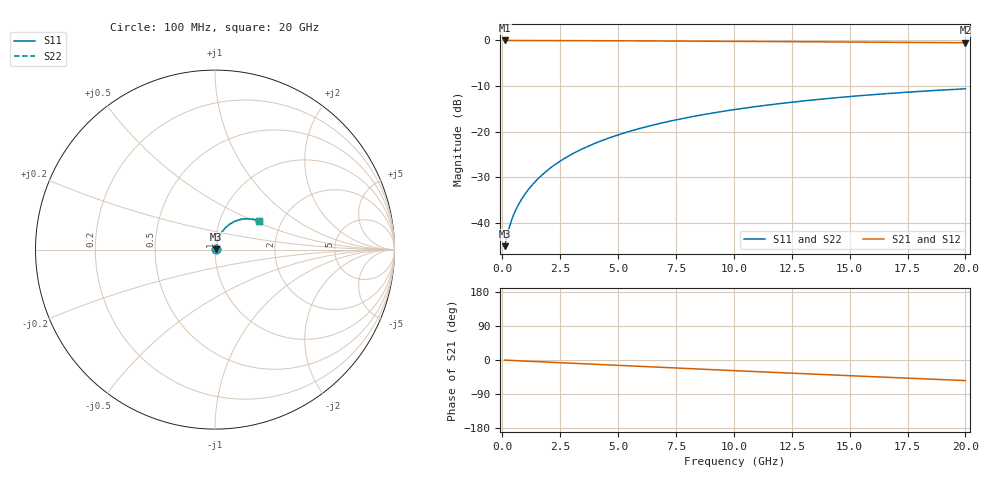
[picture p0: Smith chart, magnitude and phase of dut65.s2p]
! Touchstone file exported from HFSS 2026.1.0
!  File:  C:/ffzhzh/LocalFiles/Ansys_Project_Files/temp_train_BSMRDL_65_1782882769_13352.aedt
!  Generated:  01:14:12 PM Jul  1, 2026
!  Design:  BSMRDL
!  Project:  temp_train_BSMRDL_65_1782882769_13352
! Variables:
!  h_bsmrdl = 2.48um
!  h_ox = 20um
!  h_rdl = 5um
!  h_sub = 80um
!  h_tmrdl = 5um
!  h_tsv = 80um
!  h_via = 3um
!  l_bsmrdl = 903.5um
!  l_sub = 1303.5um
!  l_tmrdl = 200um
!  m_sub = 200um
!  pitch = 40.54um
!  r_tsv = 6um
!  s_tmrdl = 10um
!  w_bsmrdl = 27.46um
!  w_sub = 500um
!  w_tmrdl = 12um
!  x_tsv_center1 = 206um
!  x_tsv_center2 = 1136.96um
!  x_tsv_center3 = 1348.96um
!  x_tsv_center4 = 2279.92um
!  x_tsv_center5 = 2491.92um
!  x_tsv_center6 = 3422.88um
# GHz S MA R 50.000000
! Terminal data exported
! Port[1] = BSM_RDL1_1_T1
! Port[2] = BSM_RDL1_1_T2
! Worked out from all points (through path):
!   200 points, 100 MHz to 20 GHz, reference 50 ohm
!   highest |S21| = -0.04 dB at 100 MHz (marker M1); lowest = -0.5 dB at 20 GHz (marker M2)
!   group delay of S21, straight-line fit = 7.54 ps
!   lowest |S11| = -45.1 dB at 100 MHz (marker M3), VSWR 1.01, Z = 50.5 + j0.242 ohm
!   |S11| at or under -10 dB: start of sweep to end of sweep
!   |S22| runs from -45.1 to -10.6 dB; largest |S21 - S12| = 1.8e-14
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0.1  0.005561 25.5  0.995 -0.3  0.995 -0.3  0.005561 25.5
! Gamma 0 0 0 0
! Port Impedance 50 0 50 0
0.3  0.008888 49.5  0.9943 -0.9  0.9943 -0.9  0.008888 49.5
0.4  0.01069 54.5  0.9939 -1.2  0.9939 -1.2  0.01069 54.5
0.5  0.01245 57.9  0.9936 -1.5  0.9936 -1.5  0.01245 57.9
0.6  0.01418 60.5  0.9933 -1.8  0.9933 -1.8  0.01418 60.5
0.8  0.01758 64.3  0.9929 -2.4  0.9929 -2.4  0.01758 64.3
1  0.02099 67.0  0.9926 -2.9  0.9926 -2.9  0.02099 67.0
1.2  0.02443 68.9  0.9924 -3.5  0.9924 -3.5  0.02443 69.0
1.7  0.03321 71.8  0.9919 -4.9  0.9919 -4.9  0.0332 71.8
2.2  0.04212 72.9  0.9913 -6.3  0.9913 -6.3  0.04211 73.0
2.8  0.05287 73.2  0.9906 -8.0  0.9906 -8.0  0.05286 73.2
3.5  0.06541 72.7  0.9895 -10.0  0.9895 -10.0  0.0654 72.7
4.2  0.07786 71.6  0.9883 -12.0  0.9883 -12.0  0.07785 71.7
5  0.09193 70.1  0.9868 -14.2  0.9868 -14.2  0.09192 70.2
5.9  0.1075 68.2  0.9847 -16.7  0.9847 -16.7  0.1075 68.3
6.8  0.1227 66.1  0.9825 -19.2  0.9825 -19.2  0.1227 66.2
8.3  0.1473 62.3  0.9783 -23.4  0.9783 -23.4  0.1473 62.5
10.1  0.1753 57.8  0.9727 -28.3  0.9727 -28.3  0.1752 57.9
11.7  0.1986 53.7  0.9674 -32.7  0.9674 -32.7  0.1985 53.8
13.4  0.2217 49.3  0.9615 -37.2  0.9615 -37.2  0.2216 49.5
16.7  0.2614 40.9  0.9503 -45.9  0.9503 -45.9  0.2613 41.2
20  0.2941 32.7  0.9398 -54.3  0.9398 -54.3  0.294 33.0
